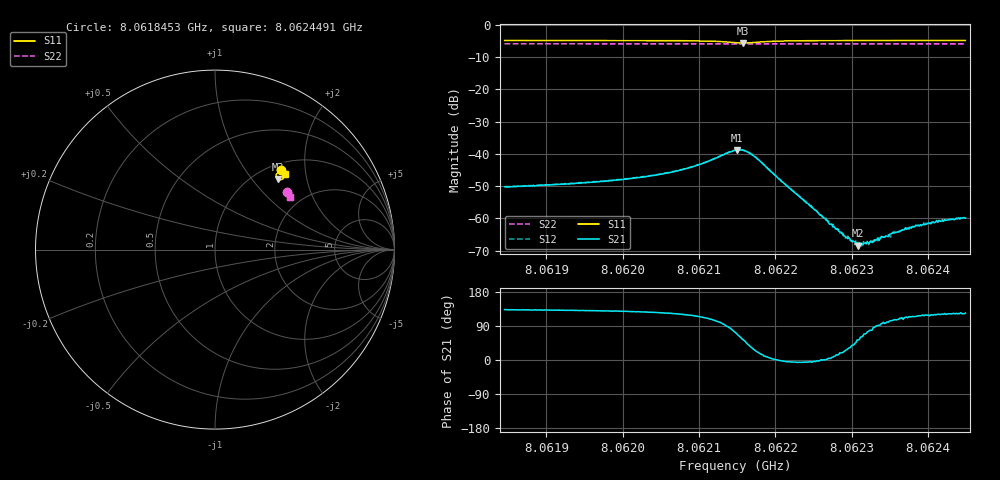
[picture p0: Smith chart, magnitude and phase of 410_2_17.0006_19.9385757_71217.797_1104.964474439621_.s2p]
#  HZ  S  RI  R  50.00
! Rohde & Schwarz Vector Network Analyzer
! Rohde-Schwarz,ZNB20-2Port,1311601062101988,3.16
! Created: UTC 3/20/2024, 11:10:25 PM
! freq[Hz]  re:S11  im:S11  re:S21  im:S21  re:S12  im:S12  re:S22  im:S22
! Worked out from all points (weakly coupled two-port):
!   401 points, 8.0618453 GHz to 8.0624491 GHz, reference 50 ohm
!   highest |S21| = -38.75 dB at 8.0621502 GHz (marker M1); lowest = -68.5 dB at 8.0623087 GHz (marker M2)
!   lowest |S11| = -5.6 dB at 8.0621578 GHz (marker M3), VSWR 3.22, Z = 62.4 + j68.1 ohm
!   |S11| at or under -10 dB: nowhere
!   |S22| runs from -5.9 to -5.8 dB; largest |S21 - S12| = 0.00085
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8.06184528e9  0.3672 0.4439  -0.00211 0.00226  -0.00198 0.00238  0.3987 0.3209
8.06194642e9  0.3742 0.4376  -0.00232 0.00268  -0.00219 0.00284  0.4025 0.3158
8.06199926e9  0.3784 0.4333  -0.00249 0.00314  -0.00232 0.00329  0.4045 0.313
8.06204756e9  0.3825 0.4278  -0.00276 0.00392  -0.00252 0.0041  0.4063 0.3105
8.06209134e9  0.3865 0.4184  -0.00291 0.0056  -0.0026 0.00583  0.4079 0.3079
8.0621472e9  0.365 0.389  0.00324 0.0109  0.00396 0.0108  0.4083 0.3042
8.06215021e9  0.3603 0.3892  0.00435 0.0107  0.00491 0.0106  0.4083 0.3042
8.06215776e9  0.349 0.3942  0.00679 0.00925  0.00741 0.0088  0.408 0.3043
8.06216682e9  0.3411 0.4068  0.00823 0.00609  0.00866 0.00561  0.4083 0.3044
8.06217588e9  0.3419 0.4195  0.00784 0.00317  0.00816 0.00275  0.4088 0.3046
8.06224834e9  0.3724 0.4345  0.00147 -0.000138  0.0015 -0.000217  0.4128 0.3014
8.0622906e9  0.3793 0.4316  0.00049 0.000213  0.000484 0.000158  0.4145 0.2991
8.06230117e9  0.3805 0.4308  0.000346 0.000285  0.000341 0.000259  0.4148 0.2985
8.06230872e9  0.3814 0.4302  0.000229 0.000301  0.000287 0.000312  0.4151 0.2982
8.06231023e9  0.3814 0.4302  0.000244 0.000341  0.00026 0.000309  0.4152 0.298
8.06231778e9  0.3824 0.4298  0.000152 0.000389  0.00019 0.000382  0.4155 0.2976
8.06232532e9  0.3831 0.4292  8.86e-05 0.000439  0.000103 0.000409  0.4157 0.2972
8.06233891e9  0.3844 0.4284  -5.64e-05 0.000509  -1.29e-05 0.000528  0.4161 0.2966
8.06234948e9  0.3852 0.4276  -0.000123 0.000552  -8.61e-05 0.000532  0.4166 0.296
8.06237212e9  0.3872 0.4262  -0.000268 0.000623  -0.000237 0.000661  0.4174 0.2947
8.06239778e9  0.3892 0.4248  -0.000391 0.000713  -0.000336 0.000772  0.4182 0.2936
8.06244911e9  0.3928 0.4217  -0.000564 0.000837  -0.000514 0.000889  0.4201 0.2909
